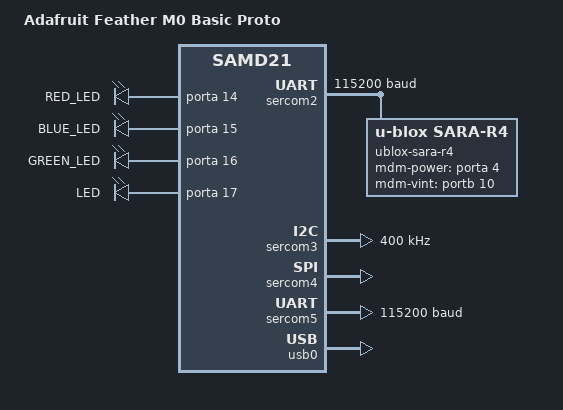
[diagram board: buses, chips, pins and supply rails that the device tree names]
/*
 * Copyright (c) 2018 Henrik Brix Andersen <henrik@brixandersen.dk>
 *
 * SPDX-License-Identifier: Apache-2.0
 */

/dts-v1/;
#include <atmel/samd21.dtsi>

#include "feather_connector.dtsi"

/ {	
	model = "Adafruit Feather M0 Basic Proto";
	compatible = "adafruit,feather-m0-basic-proto", "atmel,samd21g18a",
			"atmel,samd21";

	chosen {
		zephyr,console = &sercom5;
		zephyr,shell-uart = &sercom5;
		zephyr,sram = &sram0;
		zephyr,flash = &flash0;
		zephyr,code-partition = &code_partition;
	};

	/* These aliases are provided for compatibility with samples */
	aliases {
		led0 = &led0;
		led1 = &led1;
		led2 = &led2;
		led3 = &led3;
		/*sara1 = &sara1;
		sara2 = &sara2;*/
	};

	leds {
		compatible = "gpio-leds";
		led0: led_0 {
			gpios = <&porta 14 0>;
			label = "RED_LED";
		};
		led1: led_1 {
			gpios = <&porta 15 0>;
			label = "BLUE_LED";
		};
		led2: led_2 {
			gpios = <&porta 16 0>;
			label = "GREEN_LED";
		};
		led3: led_3 {
			gpios = <&porta 17 0>;
			label = "LED";
		};
	};
	
	/*sara_r412m {
		compatible = "ublox,sara-r4";
		sara1: sara_1 {
			gpios = <&porta 4 0>;
			label = "SARA_ENABLE";
		};
		sara2: sara_2 {
			gpios = <&portb 10 0>;
			label = "SARA_R4XX_TOGGLE";
		};	
	};*/
};

&cpu0 {
	clock-frequency = <48000000>;
};

&sercom2 {
	status = "okay";
	compatible = "atmel,sam0-uart";
	current-speed = <115200>;
	rxpo = <1>;
	txpo = <0>;

	pinctrl-0 = <&pa13c_sercom2_pad1 &pa12c_sercom2_pad0>;
	
	sara_r4 {
		compatible = "u-blox,sara-r4";
		label = "ublox-sara-r4";
		status = "okay";

		mdm-power-gpios = <&porta 4 0>;
		mdm-vint-gpios = <&portb 10 0>;
	};
};

&sercom3 {
	status = "okay";
	compatible = "atmel,sam0-i2c";
	clock-frequency = <I2C_BITRATE_FAST>;
	#address-cells = <1>;
	#size-cells = <0>;
};

&sercom4 {
	status = "okay";
	compatible = "atmel,sam0-spi";
	#address-cells = <1>;
	#size-cells = <0>;
	dipo = <0>;
	dopo = <1>;
};

&sercom5 {
	status = "okay";
	compatible = "atmel,sam0-uart";
	current-speed = <115200>;
	rxpo = <1>;
	txpo = <0>;

	pinctrl-0 = <&pb3d_sercom5_pad1 &pb2d_sercom5_pad0>;
};

&flash0 {
	partitions {
		compatible = "fixed-partitions";
		#address-cells = <1>;
		#size-cells = <1>;

		boot_partition: partition@0 {
			label = "sam-ba";
			reg = <0x00000000 0x2000>;
			read-only;
		};

		code_partition: partition@2000 {
			label = "code";
			reg = <0x2000 0x3A000>;
			read-only;
		};

		/*
		 * The final 16 KiB is reserved for the application.
		 * Storage partition will be used by FCB/LittleFS/NVS
		 * if enabled.
		 */
		storage_partition: partition@3c000 {
			label = "storage";
			reg = <0x0003c000 0x00004000>;
		};
	};
};

&usb0 {
	status = "okay";
};
